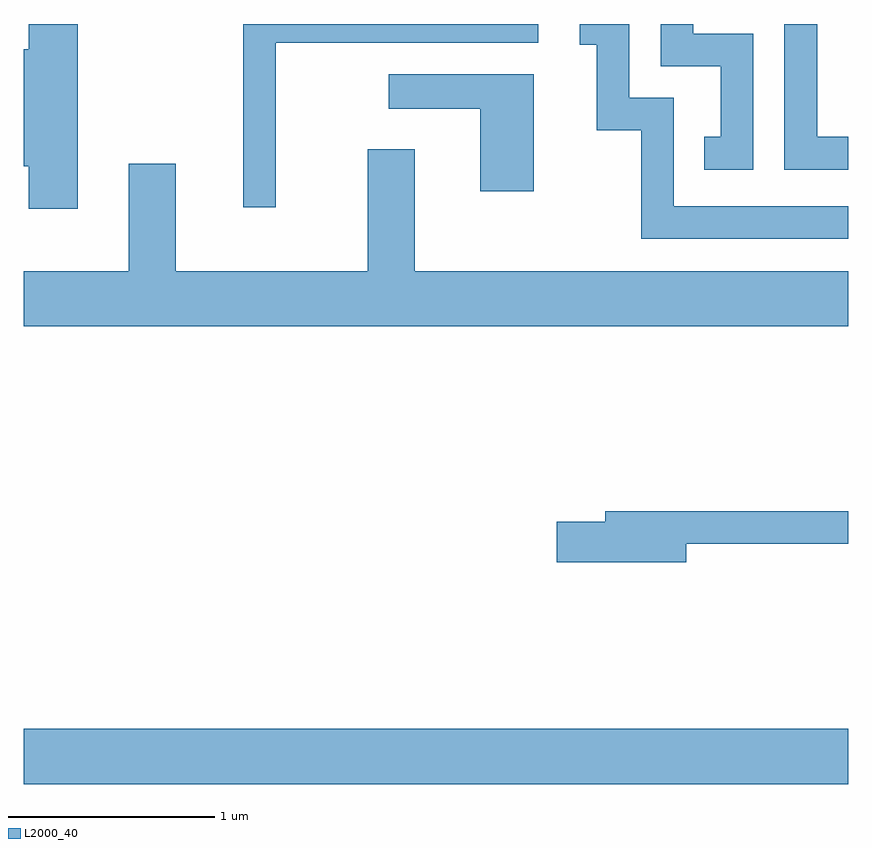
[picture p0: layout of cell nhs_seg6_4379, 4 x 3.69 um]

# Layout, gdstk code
import gdstk
lib = gdstk.Library(unit=1e-6, precision=1e-09)
def R(c, l, rs):  # rectangles x0, y0, x1, y1
    for r in rs: c.add(gdstk.rectangle(r[:2], r[2:], *l))
def P(c, l, *ps):  # polygons
    for p in ps: c.add(gdstk.Polygon(p, *l))
L2000_40 = (2000, 40)

nhs_seg6_4379 = lib.new_cell('nhs_seg6_4379')
R(nhs_seg6_4379, L2000_40, [(319.611,1554.476,323.611,1554.744)])
P(nhs_seg6_4379, L2000_40, [(323.149,1558.114),(322.859,1558.114),(322.859,1558.162),(322.701,1558.162),(322.701,1557.956),(322.991,1557.956),(322.991,1557.614),(322.913,1557.614),(322.913,1557.456),(323.149,1557.456)],
  [(323.611,1557.279),(322.764,1557.279),(322.764,1557.804),(322.549,1557.804),(322.549,1558.162),(322.308,1558.162),(322.308,1558.061),(322.391,1558.061),(322.391,1557.646),(322.606,1557.646),(322.606,1557.121),(323.611,1557.121)],
  [(323.611,1557.614),(323.459,1557.614),(323.459,1558.162),(323.301,1558.162),(323.301,1557.456),(323.611,1557.456)],
  [(320.834,1558.071),(322.108,1558.071),(322.108,1558.162),(320.676,1558.162),(320.676,1557.273),(320.834,1557.273)],
  [(319.874,1558.162),(319.636,1558.162),(319.636,1558.039),(319.611,1558.039),(319.611,1557.471),(319.636,1557.471),(319.636,1557.266),(319.874,1557.266)],
  [(322.084,1557.919),(321.383,1557.919),(321.383,1557.751),(321.826,1557.751),(321.826,1557.351),(322.084,1557.351)],
  [(323.611,1556.964),(321.509,1556.964),(321.509,1557.554),(321.281,1557.554),(321.281,1556.964),(320.349,1556.964),(320.349,1557.484),(320.121,1557.484),(320.121,1556.964),(319.611,1556.964),(319.611,1556.696),(323.611,1556.696)],
  [(322.824,1555.641),(323.611,1555.641),(323.611,1555.799),(322.431,1555.799),(322.431,1555.749),(322.196,1555.749),(322.196,1555.551),(322.824,1555.551)])

lib.write_gds('nhs_seg6_4379.gds')
